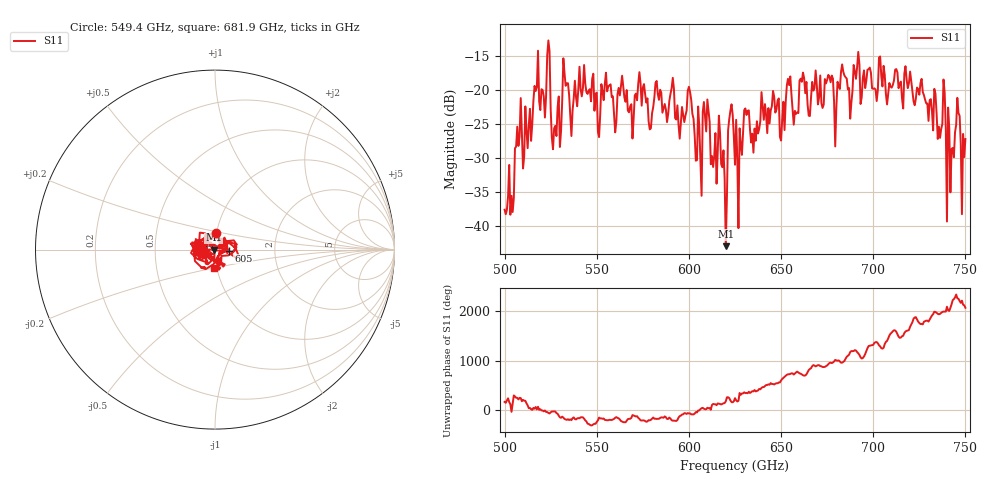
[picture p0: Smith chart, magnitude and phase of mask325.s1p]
!Created with skrf (http://scikit-rf.org).
# GHz S MA R 50.0
!freq magS11 angS11
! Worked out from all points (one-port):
!   401 points, 500 GHz to 750 GHz, reference 50 ohm
!   lowest |S11| = -42.9 dB at 620 GHz (marker M1), VSWR 1.01, Z = 49.3 - j0.0107 ohm
!   |S11| at or under -10 dB: start of sweep to end of sweep
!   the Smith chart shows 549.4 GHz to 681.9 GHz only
!   S11 on the Smith chart (normalised r, x): 549.4 GHz: 0.99, +0.19; 605 GHz: 1.16, -0.01; 681.9 GHz: 0.97, -0.20
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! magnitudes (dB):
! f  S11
! 500 GHz  -37.6
! 516.9 GHz  -20.2
! 523.8 GHz  -12.8
! 526.9 GHz  -25.6
! 531.2 GHz  -21.6
! 549.4 GHz  -20.6
! 562.5 GHz  -20.8
! 579.4 GHz  -25.6
! 590.6 GHz  -19.7
! 593.8 GHz  -22.3
! 600.6 GHz  -20.3
! 605 GHz  -22.4
! 609.4 GHz  -26.1
! 620 GHz  -42.9
! 622.5 GHz  -23.1
! 625 GHz  -31.0
! 627.5 GHz  -25.7
! 631.2 GHz  -23.7
! 635 GHz  -29.2
! 656.2 GHz  -23.0
! 681.9 GHz  -19.9
! 687.5 GHz  -24.2
! 690.6 GHz  -18.4
! 718.8 GHz  -19.8
! 738.1 GHz  -18.5
! 741.2 GHz  -25.6
! 745.6 GHz  -21.2
! 750 GHz  -27.2
